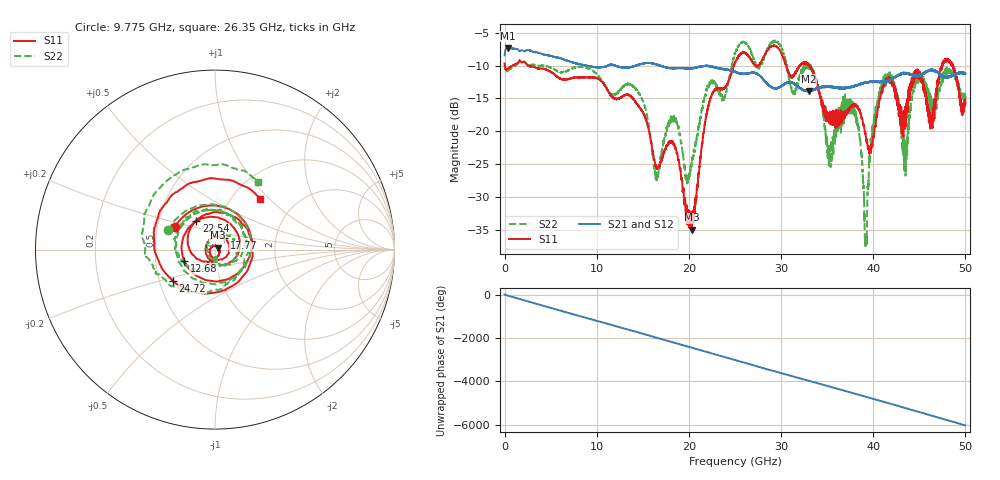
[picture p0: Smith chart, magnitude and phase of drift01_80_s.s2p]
!Created with skrf (http://scikit-rf.org).
# Hz S RI R 50.0
!freq ReS11 ImS11 ReS21 ImS21 ReS12 ImS12 ReS22 ImS22
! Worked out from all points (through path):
!   10001 points, 300 kHz to 50 GHz, reference 50 ohm
!   highest |S21| = -7.33 dB at 320.3 MHz (marker M1); lowest = -13.9 dB at 33.02 GHz (marker M2)
!   group delay of S21, straight-line fit = 335 ps
!   lowest |S11| = -34.9 dB at 20.33 GHz (marker M3), VSWR 1.04, Z = 51.5 + j1.06 ohm
!   |S11| at or under -10 dB: 2.566 GHz to 24.9 GHz (22.33 GHz wide, 163 % of centre); 30.54 GHz to 32.05 GHz (1.513 GHz wide, 4.83 % of centre); 33.11 GHz to 47.45 GHz (14.34 GHz wide, 35.6 % of centre) (the widest 3 of 21)
!   |S22| runs from -37.4 to -6.2 dB; largest |S21 - S12| = 0.011
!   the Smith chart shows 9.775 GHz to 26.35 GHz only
!   S11 on the Smith chart (normalised r, x): 9.775 GHz: 0.62, +0.17; 12.68 GHz: 0.70, -0.09; 17.77 GHz: 1.10, +0.14; 22.54 GHz: 0.77, +0.26; 24.72 GHz: 0.59, -0.22; 26.35 GHz: 1.34, +0.89
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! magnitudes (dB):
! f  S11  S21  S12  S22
! 300 kHz  -9.7  -8.4  -8.5  -9.6
! 320.3 MHz  -10.5  -7.3  -7.3  -10.9
! 8.335 GHz  -11.8  -9.8  -9.8  -10.2
! 9.775 GHz  -11.8  -10.2  -10.2  -11.0
! 12.68 GHz  -14.8  -10.3  -10.3  -13.4
! 16.67 GHz  -25.7  -9.9  -9.9  -26.9
! 17.77 GHz  -21.7  -10.4  -10.4  -19.1
! 20.33 GHz  -34.9  -10.4  -10.4  -24.5
! 22.54 GHz  -14.3  -10.1  -10.1  -12.3
! 24.72 GHz  -10.7  -10.8  -10.9  -9.8
! 25 GHz  -9.6  -11.0  -11.0  -8.2
! 26.35 GHz  -8.4  -11.2  -11.2  -6.9
! 33.02 GHz  -9.9  -13.9  -13.8  -10.2
! 33.34 GHz  -10.7  -13.8  -13.7  -10.7
! 35.28 GHz  -17.8  -13.2  -13.2  -22.5
! 37.96 GHz  -16.0  -13.1  -13.1  -17.3
! 39.21 GHz  -20.9  -12.6  -12.5  -35.8
! 40.09 GHz  -20.6  -12.5  -12.4  -17.7
! 41.67 GHz  -11.8  -12.2  -12.3  -12.1
! 43.43 GHz  -17.8  -11.3  -11.2  -23.7
! 44.87 GHz  -10.8  -11.5  -11.4  -11.9
! 50 GHz  -15.7  -11.3  -11.3  -14.9
